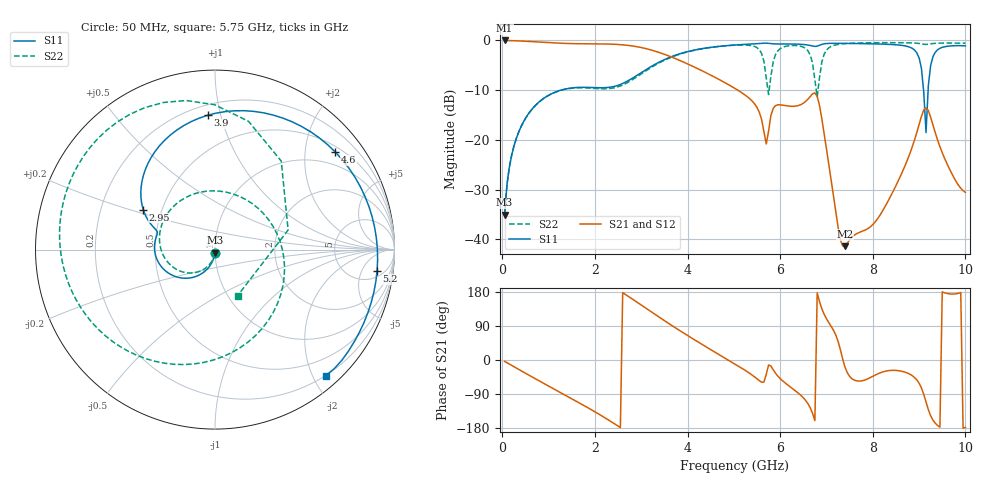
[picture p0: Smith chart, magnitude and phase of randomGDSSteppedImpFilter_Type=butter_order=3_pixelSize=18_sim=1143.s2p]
! freq	dB(S11)	phase(S11)	dB(S12)	phase(S12)
!  dB(S21)	phase(S21)	dB(S22)	phase(S22)
!S-par simulation data
#  GHz  S  DB  R 50
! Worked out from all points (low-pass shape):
!   200 points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, 50 MHz to 10 GHz, reference 50 ohm
!   highest |S21| = -0.01 dB at 50 MHz (marker M1); lowest = -41.4 dB at 7.4 GHz (marker M2)
!   |S21| within 3 dB of the highest: start of sweep to 3.563 GHz
!   lowest |S11| = -35.1 dB at 50 MHz (marker M3), VSWR 1.04, Z = 49.9 - j1.76 ohm
!   |S11| at or under -10 dB: start of sweep to 1.267 GHz; 9.097 GHz to 9.195 GHz (98.46 MHz wide, 1.08 % of centre)
!   |S22| runs from -35.1 to -0.4 dB; largest |S21 - S12| = 0
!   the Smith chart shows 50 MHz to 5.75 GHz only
!   S11 on the Smith chart (normalised r, x): 50 MHz: 1.00, -0.04; 2.95 GHz: 0.39, +0.22; 3.9 GHz: 0.27, +0.91; 4.6 GHz: 0.63, +2.68; 5.2 GHz: 7, -10; 5.75 GHz: 0.20, -2.19
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0.05  -35.08 -92.8  -0.01 -3.6  -0.01 -3.6  -35.08 -93.6
0.5  -15.69 -121.3  -0.17 -34.9  -0.17 -34.9  -15.71 -129.3
1.75  -9.43 175.7  -0.68 -119.1  -0.68 -119.1  -9.54 125.4
2.95  -6.79 150.8  -1.34 149.2  -1.34 149.2  -7.05 -34.6
3.4  -4.31 127.8  -2.46 112.0  -2.46 112.0  -4.46 -85.9
3.9  -2.51 93.2  -4.30 72.3  -4.30 72.3  -2.57 -130.3
4.6  -1.28 39.1  -7.46 20.3  -7.46 20.3  -1.29 179.6
5.05  -0.90 4.0  -9.80 -12.4  -9.80 -12.4  -0.95 148.6
5.2  -0.81 -7.4  -10.71 -23.7  -10.71 -23.7  -0.92 136.7
5.55  -0.63 -33.4  -14.45 -54.4  -14.45 -54.4  -1.86 90.1
5.75  -0.59 -48.8  -18.26 -13.1  -18.26 -13.1  -10.89 -63.7
5.95  -0.71 -62.0  -12.96 -42.5  -12.96 -42.5  -2.09 155.9
6.4  -0.76 -90.4  -13.09 -88.1  -13.09 -88.1  -1.09 94.9
6.7  -1.13 -107.4  -10.74 -140.7  -10.74 -140.7  -4.61 25.3
6.8  -1.16 -110.4  -11.25 176.9  -11.25 176.9  -11.34 -88.8
6.9  -0.80 -115.1  -15.76 135.2  -15.76 135.2  -4.34 165.6
7.4  -0.59 -143.9  -41.40 -18.7  -41.40 -18.7  -0.64 85.1
8.35  -0.79 165.2  -31.98 -27.9  -31.98 -27.9  -0.45 35.0
8.95  -2.48 108.7  -18.55 -52.3  -18.55 -52.3  -0.56 9.3
9.15  -18.55 -56.4  -13.53 -111.0  -13.53 -111.0  -0.81 2.7
9.35  -2.37 169.4  -18.60 -167.0  -18.60 -167.0  -0.58 -3.9
10  -1.09 106.4  -30.57 -178.1  -30.57 -178.1  -0.57 -28.1
